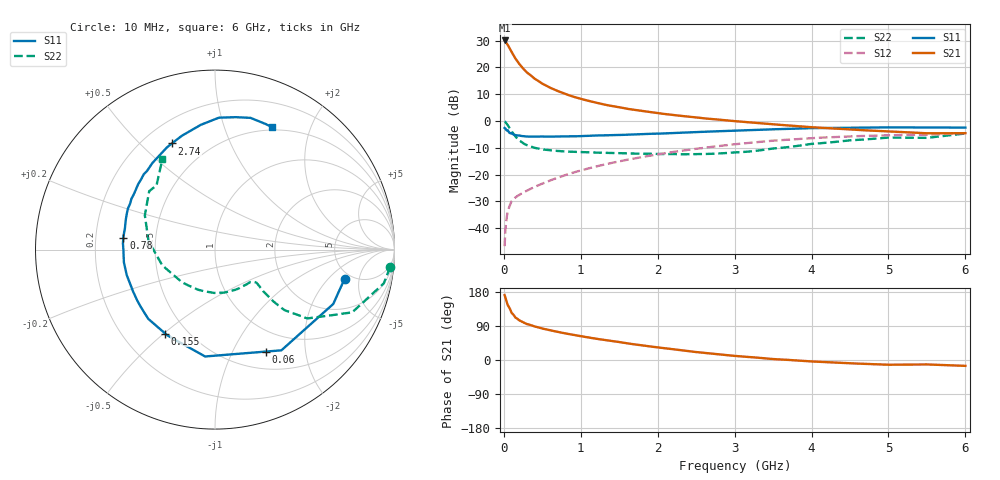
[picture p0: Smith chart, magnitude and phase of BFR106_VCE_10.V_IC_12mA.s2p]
! Infineon Technologies  Discrete & RF Semiconductors
! BFR106
! VCE =  10. V,  IC =  12 mA
! Common Emitter S-Parameters:  Nov 2015
# GHz  S  MA  R  50
!  f  S11  S21  S12  S22
! GHz  MAG  ANG  MAG  ANG  MAG  ANG  MAG  ANG
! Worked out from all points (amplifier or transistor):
!   210 points, 10 MHz to 6 GHz, reference 50 ohm
!   highest |S21| = 30.1 dB at 10 MHz (marker M1)
!   |S21| within 3 dB of that: start of sweep to 76 MHz
!   unconditionally stable (mu >= 1): 479 MHz to 2.024 GHz; 5.458 GHz to 5.917 GHz
!   at 185 MHz: K = 0.60, MSG = 24.9 dB, |S12| = -27.9 dB
!   at 1.52 GHz: K = 1.07, MAG = 8.4 dB, |S12| = -15.0 dB
!   at 6 GHz: K = 1.00, MSG = 0.0 dB, |S12| = -4.5 dB
!   S11 on the Smith chart (normalised r, x): 10 MHz: 4.38, -3.13; 60 MHz: 0.71, -1.36; 155 MHz: 0.38, -0.51; 780 MHz: 0.32, +0.06; 2.74 GHz: 0.31, +0.63; 6 GHz: 0.47, +1.47
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0.01  0.7404 -12.6  31.85 171.3  0.0046 84.5  0.9808 -5.7
0.02  0.7252 -24.7  30.88 164.6  0.0093 79.5  0.9591 -11.3
0.05  0.6721 -56.6  26.51 145.1  0.0205 65.5  0.8407 -24.6
0.06  0.6355 -63.4  24.92 142.0  0.0226 62.2  0.7985 -26.5
0.1  0.5981 -95.3  19.57 124.9  0.0317 53.8  0.6417 -36.7
0.15  0.5466 -119.1  14.64 112.1  0.0374 49.7  0.5122 -41.1
0.155  0.5439 -120.6  14.33 111.5  0.0378 49.7  0.5047 -41.1
0.2  0.5359 -134.0  11.65 104.8  0.0418 49.9  0.4369 -41.6
0.26  0.5182 -146.5  9.227 98.2  0.0467 51.1  0.3772 -41.0
0.3  0.5127 -152.7  8.051 94.9  0.0499 52.8  0.3533 -40.8
0.4  0.5119 -163.9  6.163 88.5  0.0587 55.7  0.3152 -39.3
0.5  0.5125 -172.1  4.971 82.9  0.0677 58.5  0.2945 -38.6
0.6  0.5097 -178.8  4.186 78.3  0.0774 60.4  0.2837 -39.4
0.78  0.515 172.5  3.269 70.9  0.0955 62.8  0.2702 -41.9
1.02  0.5234 162.0  2.543 62.2  0.1213 64.1  0.2626 -47.0
1.4  0.5451 148.7  1.904 50.2  0.1645 63.7  0.254 -58.3
2.02  0.5805 130.4  1.39 32.8  0.2406 58.9  0.2419 -83.4
2.74  0.6382 112.1  1.076 16.0  0.3334 50.1  0.245 -121.2
3.1  0.6669 104.2  0.966 9.3  0.379 44.7  0.2629 -141.8
4.1  0.7367 86.8  0.75 -4.7  0.4869 28.2  0.3821 168.5
5.1  0.7585 73.7  0.629 -12.4  0.5451 12.9  0.4886 137.2
6  0.7528 64.9  0.592 -15.5  0.5928 1.5  0.584 120.1
